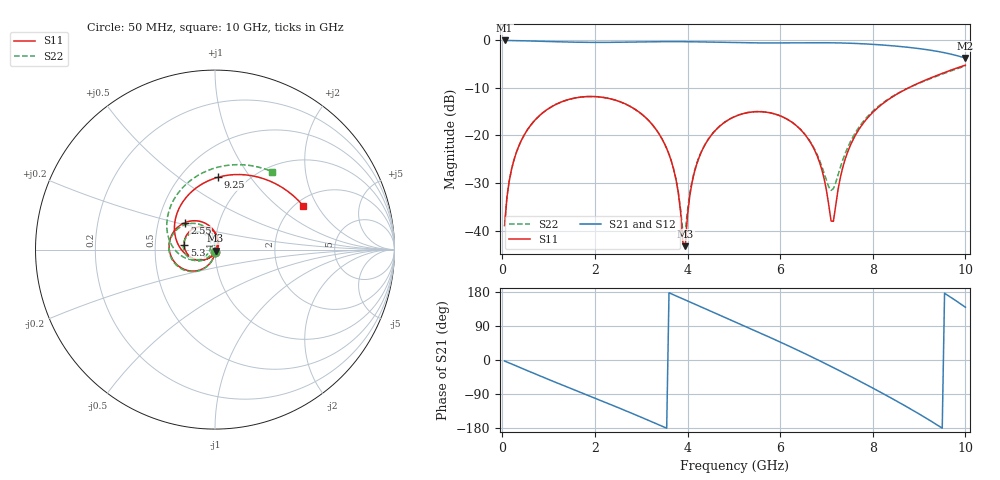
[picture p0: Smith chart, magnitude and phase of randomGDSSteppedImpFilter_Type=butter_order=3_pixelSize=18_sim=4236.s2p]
! freq	dB(S11)	phase(S11)	dB(S12)	phase(S12)
!  dB(S21)	phase(S21)	dB(S22)	phase(S22)
!S-par simulation data
#  GHz  S  DB  R 50
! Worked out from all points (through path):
!   200 points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, 50 MHz to 10 GHz, reference 50 ohm
!   highest |S21| = -0.01 dB at 50 MHz (marker M1); lowest = -3.7 dB at 10 GHz (marker M2)
!   group delay of S21, straight-line fit = 157 ps
!   lowest |S11| = -43.3 dB at 3.95 GHz (marker M3), VSWR 1.01, Z = 50.3 - j0.603 ohm
!   |S11| at or under -10 dB: start of sweep to 8.767 GHz
!   |S22| runs from -40.3 to -5.4 dB; largest |S21 - S12| = 0
!   S11 on the Smith chart (normalised r, x): 50 MHz: 1.00, -0.02; 2.55 GHz: 0.68, +0.22; 5.3 GHz: 0.71, +0.04; 9.25 GHz: 0.74, +0.71; 10 GHz: 2.20, +1.54
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0.05  -38.99 -92.0  -0.01 -2.6  -0.01 -2.6  -38.99 -91.9
0.2  -27.11 -100.8  -0.03 -10.5  -0.03 -10.5  -27.11 -100.4
0.5  -19.46 -116.9  -0.08 -25.9  -0.08 -25.9  -19.46 -116.0
1.15  -13.49 -150.5  -0.27 -58.9  -0.27 -58.9  -13.50 -148.5
1.75  -11.87 179.2  -0.40 -88.5  -0.40 -88.5  -11.87 -177.5
2.55  -12.93 138.6  -0.38 -128.1  -0.38 -128.1  -12.93 144.3
3.4  -19.90 92.1  -0.26 -172.0  -0.26 -172.0  -19.92 104.3
3.75  -29.22 67.5  -0.25 169.3  -0.25 169.3  -29.18 95.3
3.9  -42.52 22.2  -0.26 161.3  -0.26 161.3  -40.27 134.4
3.95  -43.30 -61.1  -0.26 158.6  -0.26 158.6  -40.30 -170.5
4.05  -32.60 -108.1  -0.27 153.2  -0.27 153.2  -32.11 -133.4
4.25  -24.61 -126.8  -0.30 142.4  -0.30 142.4  -24.48 -132.1
5.05  -15.90 -174.6  -0.46 99.3  -0.46 99.3  -15.87 -167.8
5.3  -15.19 171.1  -0.50 85.8  -0.50 85.8  -15.16 -180.0
5.95  -15.69 132.7  -0.52 50.2  -0.52 50.2  -15.67 148.3
6.7  -22.24 82.0  -0.48 7.1  -0.48 7.1  -22.12 118.4
7.15  -38.06 -50.8  -0.50 -20.1  -0.50 -20.1  -31.18 -179.9
7.3  -28.84 -110.9  -0.53 -29.4  -0.53 -29.4  -26.71 -150.5
7.55  -21.36 -138.9  -0.60 -45.1  -0.60 -45.1  -20.69 -147.2
8.35  -12.36 158.3  -1.07 -97.2  -1.07 -97.2  -12.24 173.6
9.25  -7.89 87.8  -2.06 -160.7  -2.06 -160.7  -8.01 114.1
10  -5.21 26.3  -3.72 139.4  -3.72 139.4  -5.38 53.8
